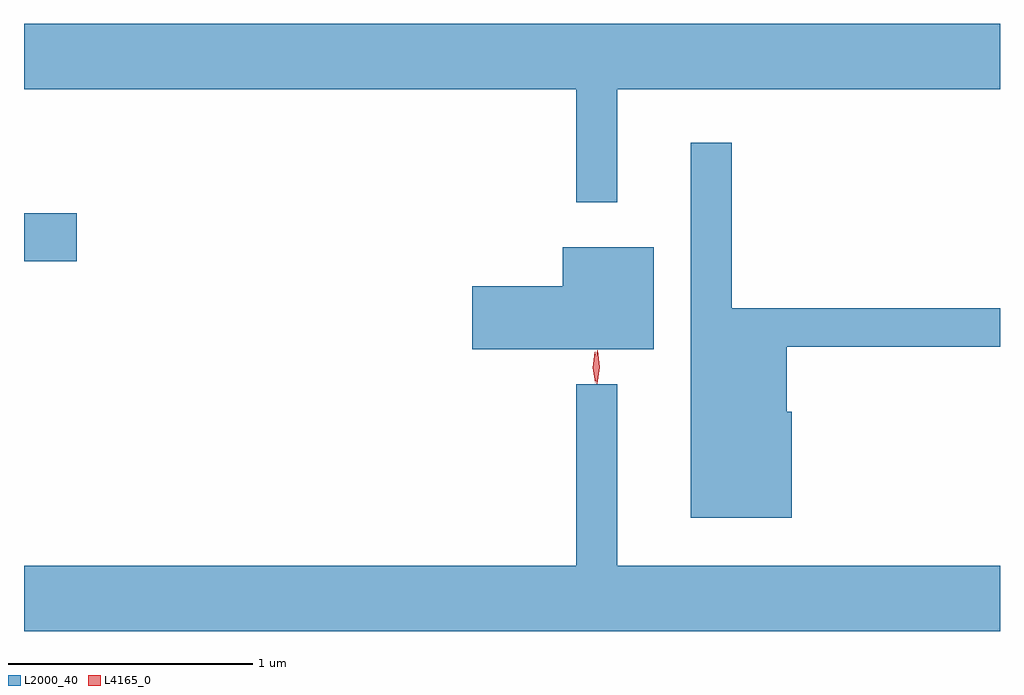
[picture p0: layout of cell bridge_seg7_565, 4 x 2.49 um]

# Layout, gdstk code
import gdstk
lib = gdstk.Library(unit=1e-6, precision=1e-09)
def R(c, l, rs):  # rectangles x0, y0, x1, y1
    for r in rs: c.add(gdstk.rectangle(r[:2], r[2:], *l))
def P(c, l, *ps):  # polygons
    for p in ps: c.add(gdstk.Polygon(p, *l))
L2000_40 = (2000, 40)
L4165_0 = (4165, 0)

bridge_seg7_565 = lib.new_cell('bridge_seg7_565')
R(bridge_seg7_565, L2000_40, [(766.238,1795.751,766.454,1795.949)])
P(bridge_seg7_565, L2000_40, [(768.669,1796.456),(770.238,1796.456),(770.238,1796.724),(766.238,1796.724),(766.238,1796.456),(768.501,1796.456),(768.501,1795.993),(768.669,1795.993)],
  [(769.384,1795.134),(769.364,1795.134),(769.364,1795.401),(770.238,1795.401),(770.238,1795.559),(769.139,1795.559),(769.139,1796.238),(768.971,1796.238),(768.971,1794.701),(769.384,1794.701)],
  [(768.819,1795.809),(768.446,1795.809),(768.446,1795.649),(768.076,1795.649),(768.076,1795.391),(768.819,1795.391)],
  [(770.238,1794.504),(768.669,1794.504),(768.669,1795.248),(768.501,1795.248),(768.501,1794.504),(766.238,1794.504),(766.238,1794.236),(770.238,1794.236)])
P(bridge_seg7_565, L4165_0, [(768.579,1795.253),(768.579,1795.253),(768.569,1795.316),(768.578,1795.379),(768.579,1795.38),(768.579,1795.379),(768.589,1795.316),(768.58,1795.253)],
  [(768.586,1795.25),(768.578,1795.318),(768.588,1795.386),(768.588,1795.386),(768.589,1795.386),(768.598,1795.318),(768.587,1795.25),(768.587,1795.25)])

lib.write_gds('bridge_seg7_565.gds')
